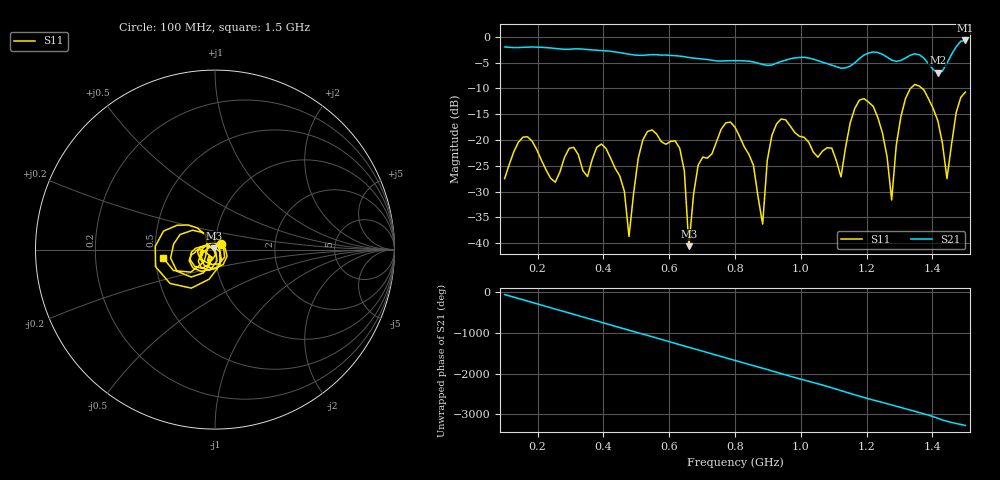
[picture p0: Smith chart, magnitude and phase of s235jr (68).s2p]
! NanoVNA-App
! Date: 2025-09-25 15:04:41
! Start: 100MHz Stop: 1,5GHz Points: 101
! S-Parameter data: F S11 S21 S12 S22
# Hz S RI R 50
!  Frequency  S11_Real  S11_Imag  S21_Real  S21_Imag  S12_Real  S12_Imag  S22_Real  S22_Imag
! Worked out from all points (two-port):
!   101 points, 100 MHz to 1.5 GHz, reference 50 ohm
!   highest |S21| = -0.71 dB at 1.5 GHz (marker M1); lowest = -7.0 dB at 1.416 GHz (marker M2)
!   |S21| within 3 dB of the highest: start of sweep to 626.7 MHz; 1.189 GHz to 1.256 GHz (67.56 MHz wide, 5.53 % of centre) (the widest 2 of 4)
!   lowest |S11| = -40.6 dB at 660 MHz (marker M3), VSWR 1.02, Z = 49.3 + j0.612 ohm
!   |S11| at or under -10 dB: start of sweep to 1.333 GHz; 1.368 GHz to end of sweep
!   S12 and S22 are empty: the file has one direction only
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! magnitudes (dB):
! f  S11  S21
! 100 MHz  -27.5  -2.0
! 156 MHz  -19.4  -2.0
! 338 MHz  -26.0  -2.4
! 408 MHz  -21.6  -2.7
! 478 MHz  -38.7  -3.4
! 520 MHz  -20.0  -3.6
! 576 MHz  -20.3  -3.5
! 632 MHz  -21.6  -3.7
! 660 MHz  -40.6  -4.0
! 688 MHz  -24.9  -4.2
! 800 MHz  -17.5  -4.6
! 884 MHz  -36.3  -5.4
! 926 MHz  -16.9  -5.1
! 1.038 GHz  -22.4  -4.3
! 1.122 GHz  -27.2  -6.1
! 1.192 GHz  -12.0  -3.5
! 1.248 GHz  -18.6  -3.4
! 1.276 GHz  -31.6  -4.5
! 1.332 GHz  -10.1  -3.6
! 1.416 GHz  -16.2  -7.0
! 1.444 GHz  -27.5  -5.1
! 1.5 GHz  -10.7  -0.7
